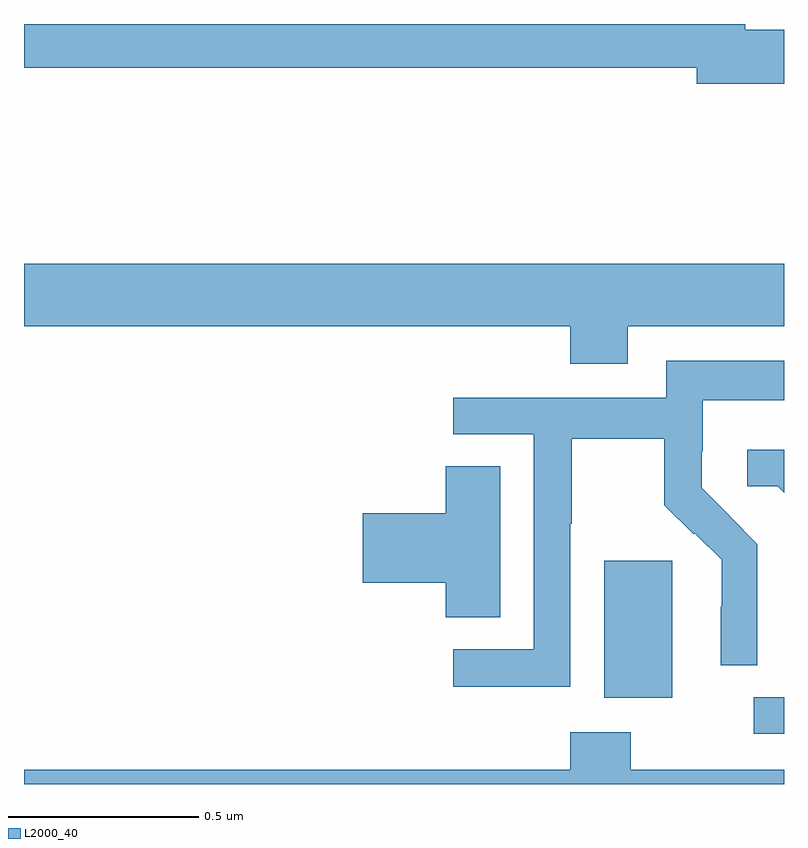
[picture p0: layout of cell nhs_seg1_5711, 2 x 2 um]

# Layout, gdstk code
import gdstk
lib = gdstk.Library(unit=1e-6, precision=1e-09)
def R(c, l, rs):  # rectangles x0, y0, x1, y1
    for r in rs: c.add(gdstk.rectangle(r[:2], r[2:], *l))
def P(c, l, *ps):  # polygons
    for p in ps: c.add(gdstk.Polygon(p, *l))
L2000_40 = (2000, 40)

nhs_seg1_5711 = lib.new_cell('nhs_seg1_5711')
R(nhs_seg1_5711, L2000_40, [(183.921,545.331,184,545.427), (183.527,545.426,183.706,545.787)])
P(nhs_seg1_5711, L2000_40, [(184,547.184),(183.898,547.184),(183.898,547.199),(182,547.199),(182,547.084),(183.77,547.084),(183.77,547.042),(184,547.042)],
  [(183.589,546.404),(184,546.404),(184,546.568),(182,546.568),(182,546.404),(183.437,546.404),(183.437,546.305),(183.589,546.305)],
  [(183.438,545.884),(183.441,545.884),(183.441,546.108),(183.685,546.108),(183.685,545.933),(183.762,545.856),(183.765,545.859),(183.836,545.789),(183.836,545.666),(183.834,545.666),(183.834,545.512),(183.93,545.512),(183.93,545.83),(183.857,545.903),(183.858,545.904),(183.784,545.978),(183.784,546.075),(183.786,546.075),(183.786,546.209),(184,546.209),(184,546.313),(183.69,546.313),(183.69,546.216),(183.129,546.216),(183.129,546.12),(183.342,546.12),(183.342,545.553),(183.129,545.553),(183.129,545.455),(183.438,545.455)],
  [(184,546.079),(183.903,546.079),(183.903,545.982),(183.984,545.982),(184,545.966)],
  [(183.253,546.035),(183.11,546.035),(183.11,545.912),(182.892,545.912),(182.892,545.729),(183.11,545.729),(183.11,545.638),(183.253,545.638)],
  [(184,545.236),(183.597,545.236),(183.597,545.335),(183.437,545.335),(183.437,545.236),(182,545.236),(182,545.199),(184,545.199)])

lib.write_gds('nhs_seg1_5711.gds')
